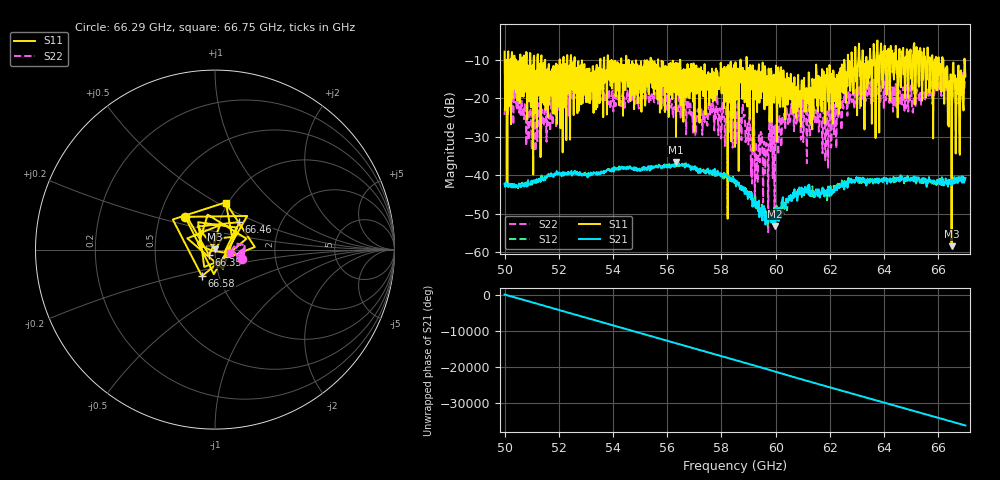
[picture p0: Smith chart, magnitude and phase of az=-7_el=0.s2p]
!Created with skrf (http://scikit-rf.org).
# GHz S RI R 50.0
!freq ReS11 ImS11 ReS21 ImS21 ReS12 ImS12 ReS22 ImS22
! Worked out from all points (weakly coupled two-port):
!   1001 points, 50 GHz to 67 GHz, reference 50 ohm
!   highest |S21| = -36.66 dB at 56.32 GHz (marker M1); lowest = -53.2 dB at 59.98 GHz (marker M2)
!   lowest |S11| = -58.4 dB at 66.49 GHz (marker M3), VSWR 1.00, Z = 50 + j0.12 ohm
!   |S11| at or under -10 dB: 52.59 GHz to 53.53 GHz (948.5 MHz wide, 1.79 % of centre); 55.66 GHz to 58.92 GHz (3.262 GHz wide, 5.69 % of centre); 58.93 GHz to 62.66 GHz (3.733 GHz wide, 6.14 % of centre) (the widest 3 of 61)
!   |S22| runs from -54.8 to -13.3 dB; largest |S21 - S12| = 0.0025
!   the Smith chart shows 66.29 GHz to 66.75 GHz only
!   S11 on the Smith chart (normalised r, x): 66.29 GHz: 0.67, +0.26; 66.35 GHz: 0.94, -0.06; 66.46 GHz: 1.24, +0.39; 66.58 GHz: 0.83, -0.25; 66.75 GHz: 0.98, +0.54
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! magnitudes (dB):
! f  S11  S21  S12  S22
! 50 GHz  -8.0  -42.3  -41.9  -24.4
! 50.15 GHz  -22.2  -42.2  -42.2  -21.1
! 51.14 GHz  -13.7  -41.3  -41.1  -33.8
! 52.84 GHz  -11.7  -39.9  -39.9  -19.4
! 55.68 GHz  -13.3  -37.7  -37.8  -21.4
! 56.32 GHz  -30.1  -36.7  -37.3  -20.9
! 58.5 GHz  -32.7  -41.5  -41.3  -23.9
! 58.86 GHz  -21.1  -44.9  -43.7  -24.3
! 59.3 GHz  -15.4  -48.2  -48.1  -40.7
! 59.98 GHz  -19.2  -53.2  -50.6  -29.3
! 60.64 GHz  -16.1  -44.5  -44.8  -22.2
! 61.34 GHz  -28.1  -44.6  -43.7  -26.7
! 62 GHz  -12.3  -44.3  -44.4  -24.1
! 62.55 GHz  -11.4  -42.1  -41.5  -18.6
! 64.18 GHz  -11.7  -41.1  -40.7  -17.4
! 66.29 GHz  -12.1  -41.0  -42.1  -15.9
! 66.35 GHz  -26.9  -43.0  -42.3  -15.7
! 66.46 GHz  -13.9  -41.1  -41.3  -17.4
! 66.49 GHz  -58.4  -42.6  -41.6  -15.6
! 66.58 GHz  -15.6  -42.2  -41.2  -15.8
! 66.75 GHz  -11.5  -40.6  -40.6  -21.4
! 67 GHz  -14.3  -40.7  -41.1  -14.4
